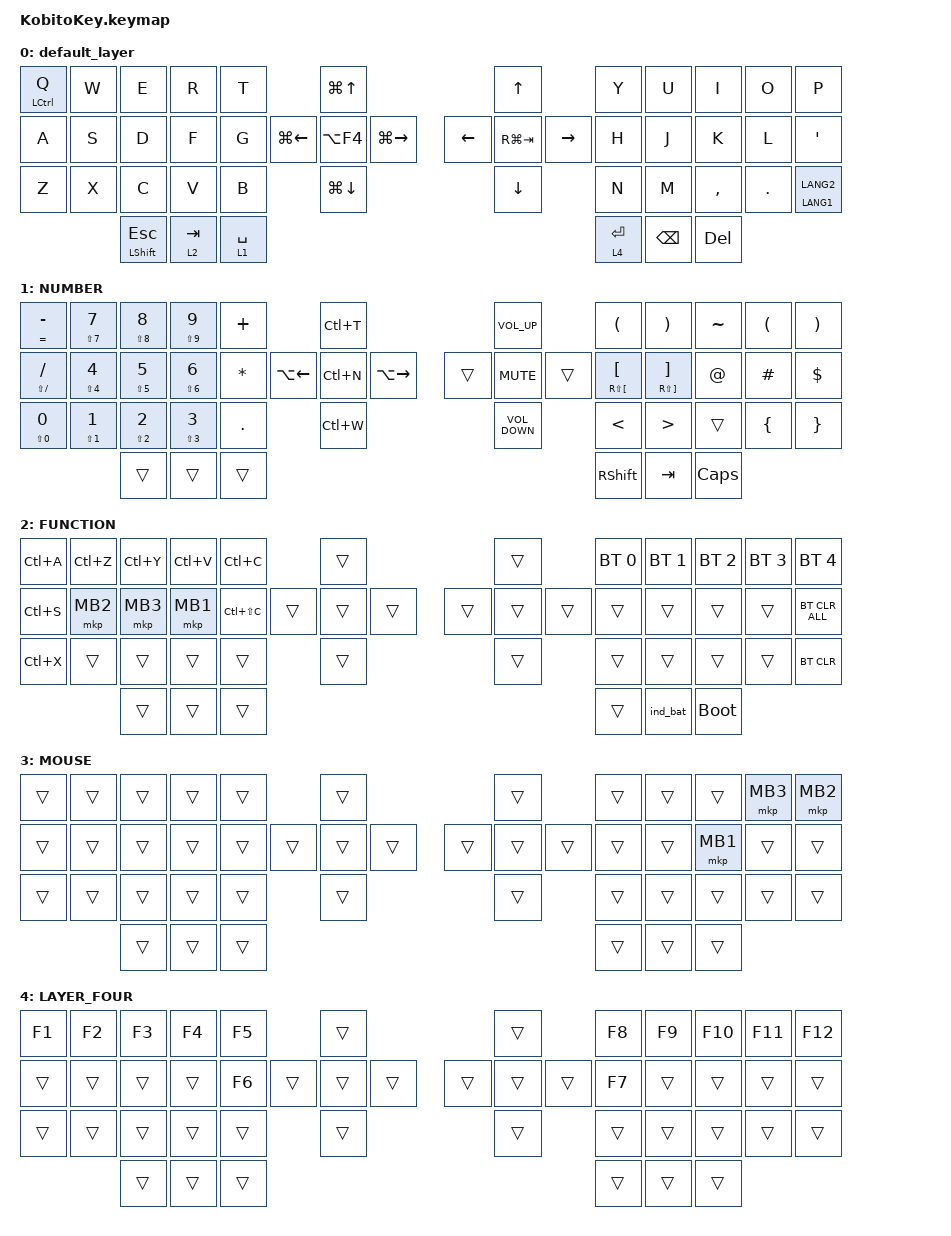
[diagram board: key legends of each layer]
#include <input/processors.dtsi>
#include <behaviors.dtsi>
#include <dt-bindings/zmk/bt.h>
#include <dt-bindings/zmk/keys.h>
#include <dt-bindings/zmk/pointing.h>
#include <behaviors/rgbled_widget.dtsi>

/ {
    keymap {
        compatible = "zmk,keymap";

        default_layer {
            bindings = <
&mt LCTRL Q  &kp W  &kp E              &kp R      &kp T                      &kp LG(UP)                               &kp UP                  &kp Y        &kp U          &kp I       &kp O    &kp P
&kp A        &kp S  &kp D              &kp F      &kp G        &kp LG(LEFT)  &kp LA(F4)    &kp LG(RIGHT)    &kp LEFT  &kp RG(TAB)  &kp RIGHT  &kp H        &kp J          &kp K       &kp L    &kp SQT
&kp Z        &kp X  &kp C              &kp V      &kp B                      &kp LG(DOWN)                             &kp DOWN                &kp N        &kp M          &kp COMMA   &kp DOT  &mt LANG1 LANG2
                    &mt LSHIFT ESCAPE  &lt 2 TAB  &lt 1 SPACE                                                                                 &lt 4 ENTER  &kp BACKSPACE  &kp DELETE
            >;
        };

        layer1 {
            label = "NUMBER";
            bindings = <
&mt EQUAL MINUS      &mt LS(N7) N7  &mt LS(N8) N8  &mt LS(N9) N9  &kp PLUS                    &kp LC(T)                           &kp C_VOL_UP               &kp LPAR           &kp RPAR           &kp TILDE    &kp LEFT_PARENTHESIS  &kp RIGHT_PARENTHESIS
&mt LS(SLASH) SLASH  &mt LS(N4) N4  &mt LS(N5) N5  &mt LS(N6) N6  &kp ASTERISK  &kp LA(LEFT)  &kp LC(N)  &kp LA(RIGHT)    &trans  &kp C_MUTE         &trans  &mt RS(LBKT) LBKT  &mt RS(RBKT) RBKT  &kp AT_SIGN  &kp HASH              &kp DOLLAR            
&mt LS(N0) N0        &mt LS(N1) N1  &mt LS(N2) N2  &mt LS(N3) N3  &kp PERIOD                  &kp LC(W)                           &kp C_VOLUME_DOWN          &kp LT             &kp GT             &trans       &kp LEFT_BRACE        &kp RIGHT_BRACE       
                                    &trans         &trans         &trans                                                                                     &kp RSHIFT         &kp TAB            &kp CLCK
            >;
        };

        layer2 {
            label = "FUNCTION";
            bindings = <
&kp LC(A)  &kp LC(Z)  &kp LC(Y)  &kp LC(V)  &kp LC(C)              &trans                    &trans          &bt BT_SEL 0  &bt BT_SEL 1  &bt BT_SEL 2  &bt BT_SEL 3  &bt BT_SEL 4
&kp LC(S)  &mkp MB2   &mkp MB3   &mkp MB1   &kp LC(LS(C))  &trans  &trans  &trans    &trans  &trans  &trans  &trans        &trans        &trans        &trans        &bt BT_CLR_ALL
&kp LC(X)  &trans     &trans     &trans     &trans                 &trans                    &trans          &trans        &trans        &trans        &trans        &bt BT_CLR  
                      &trans     &trans     &trans                                                           &trans        &ind_bat      &bootloader
            >;
        };

        layer3 {
            label = "MOUSE";
            bindings = <
&trans  &trans  &trans  &trans  &trans          &trans                    &trans          &trans  &trans  &trans    &mkp MB3  &mkp MB2
&trans  &trans  &trans  &trans  &trans  &trans  &trans  &trans    &trans  &trans  &trans  &trans  &trans  &mkp MB1  &trans    &trans
&trans  &trans  &trans  &trans  &trans          &trans                    &trans          &trans  &trans  &trans    &trans    &trans
                &trans  &trans  &trans                                                    &trans  &trans  &trans
            >;
        };

        layer4 {
            label = "LAYER_FOUR";
            bindings = <
&kp F1  &kp F2  &kp F3  &kp F4  &kp F5          &trans                    &trans          &kp F8  &kp F9  &kp F10  &kp F11  &kp F12
&trans  &trans  &trans  &trans  &kp F6  &trans  &trans  &trans    &trans  &trans  &trans  &kp F7  &trans  &trans   &trans   &trans
&trans  &trans  &trans  &trans  &trans          &trans                    &trans          &trans  &trans  &trans   &trans   &trans
                &trans  &trans  &trans                                                    &trans  &trans  &trans
            >;
        };
    };
};
